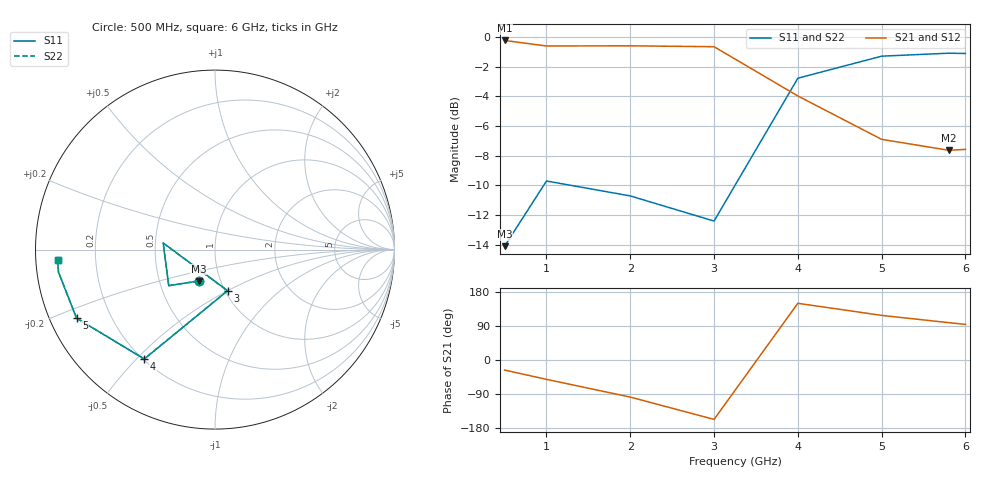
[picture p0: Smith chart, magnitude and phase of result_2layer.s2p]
! EMerge top/L2 PCB model; ideal lumped ports; connectors omitted
! Directly solved frequencies only
# Hz S RI R 50
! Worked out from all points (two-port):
!   8 points, 500 MHz to 6 GHz, reference 50 ohm
!   highest |S21| = -0.24 dB at 500 MHz (marker M1); lowest = -7.6 dB at 5.8 GHz (marker M2)
!   |S21| within 3 dB of the highest: start of sweep to 3.777 GHz
!   lowest |S11| = -14.1 dB at 500 MHz (marker M3), VSWR 1.49, Z = 39.3 - j14.3 ohm
!   |S11| at or under -10 dB: start of sweep to 967.4 MHz; 1.285 GHz to 3.251 GHz (1.966 GHz wide, 86.7 % of centre)
!   |S22| runs from -14.1 to -1.1 dB; largest |S21 - S12| = 2.7e-05
!   S11 on the Smith chart (normalised r, x): 500 MHz: 0.79, -0.29; 3 GHz: 1.03, -0.50; 4 GHz: 0.20, -0.53; 5 GHz: 0.08, -0.23; 6 GHz: 0.06, -0.03
5e8  -0.0914 -0.1746  0.8701 -0.4345  0.8701 -0.4345  -0.0914 -0.1747
1e9  -0.2577 -0.201  0.5858 -0.7245  0.5858 -0.7245  -0.2576 -0.2012
2e9  -0.2887 0.0371  -0.1273 -0.9241  -0.1273 -0.9241  -0.2888 0.0365
3e9  0.0704 -0.2289  -0.8512 -0.3658  -0.8512 -0.3658  0.0694 -0.2294
4e9  -0.3938 -0.6093  -0.5454 0.32  -0.5454 0.3199  -0.3947 -0.6089
5e9  -0.7712 -0.3826  -0.2101 0.3996  -0.2102 0.3996  -0.7715 -0.3821
5.8e9  -0.872 -0.1255  -0.0621 0.4102  -0.0621 0.4102  -0.872 -0.1252
6e9  -0.8772 -0.0589  -0.029 0.4166  -0.029 0.4166  -0.8772 -0.0586
